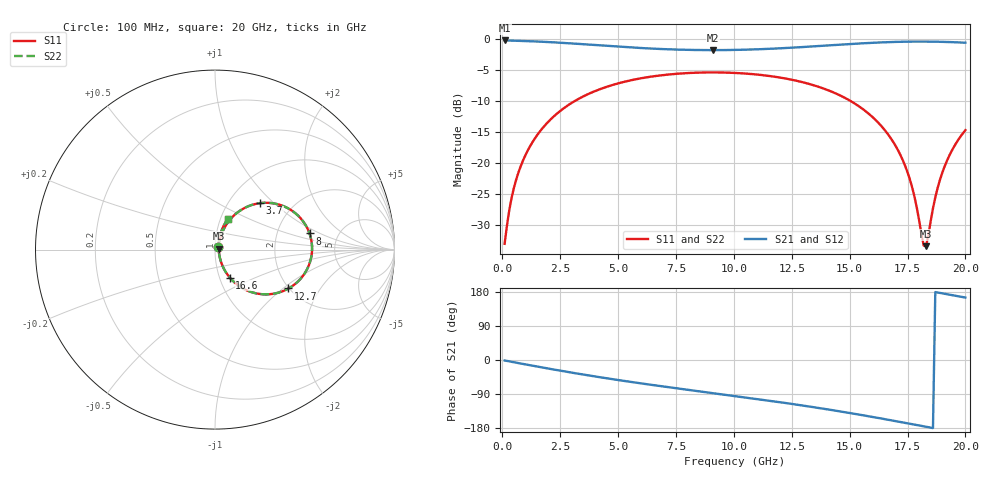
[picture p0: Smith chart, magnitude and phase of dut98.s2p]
! Touchstone file exported from HFSS 2026.1.0
!  File:  C:/ffzhzh/LocalFiles/Ansys_Project_Files/temp_train_TSV_RDL_98_1782974096_15332.aedt
!  Generated:  02:47:36 PM Jul  2, 2026
!  Design:  TSV_RDL
!  Project:  temp_train_TSV_RDL_98_1782974096_15332
! Variables:
!  h_bsmrdl = 2.89um
!  h_ox = 20um
!  h_rdl = 5um
!  h_sub = 61.26um
!  h_tmrdl = 2.36um
!  h_tsv = 61.26um
!  h_via = 3um
!  l_bsmrdl = 388.43um
!  l_sub = 3356.58um
!  l_tmrdl = 412.82um
!  m_sub = 200um
!  pitch = 50.99um
!  r_tsv = 8.35um
!  s_tmrdl = 10um
!  w_bsmrdl = 24.11um
!  w_sub = 500um
!  w_tmrdl = 22.56um
!  x_tsv_center1 = 424.1um
!  x_tsv_center2 = 836.64um
!  x_tsv_center3 = 1272.02um
!  x_tsv_center4 = 1684.56um
!  x_tsv_center5 = 2119.94um
!  x_tsv_center6 = 2532.48um
# GHz S MA R 50.000000
! Terminal data exported
! Port[1] = TM_RDL1_1_T1
! Port[2] = TM_RDL5_1_T1
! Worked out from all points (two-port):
!   200 points, 100 MHz to 20 GHz, reference 50 ohm
!   highest |S21| = -0.16 dB at 100 MHz (marker M1); lowest = -1.7 dB at 9.1 GHz (marker M2)
!   |S21| within 3 dB of the highest: start of sweep to end of sweep
!   lowest |S11| = -33.5 dB at 18.3 GHz (marker M3), VSWR 1.04, Z = 52.1 + j0.612 ohm
!   |S11| at or under -10 dB: start of sweep to 3.119 GHz; 15.06 GHz to end of sweep
!   |S22| runs from -33.6 to -5.3 dB; largest |S21 - S12| = 1.7e-14
!   S11 on the Smith chart (normalised r, x): 100 MHz: 1.04, +0.02; 3.7 GHz: 1.39, +0.82; 8 GHz: 3.08, +0.78; 12.7 GHz: 1.98, -1.10; 16.6 GHz: 1.12, -0.36; 20 GHz: 1.08, +0.38
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0.1  0.02213 32.7  0.9816 -1.2  0.9816 -1.2  0.02213 32.7
! Gamma 0 0 0 0
! Port Impedance 50 0 50 0
0.5  0.06264 64.6  0.9773 -5.9  0.9773 -5.9  0.06264 64.6
1.1  0.1261 66.8  0.9692 -12.7  0.9692 -12.7  0.1261 66.8
2.1  0.2265 60.2  0.9504 -23.8  0.9504 -23.8  0.2265 60.2
3.5  0.3459 47.7  0.9147 -38.4  0.9147 -38.4  0.3459 47.7
3.7  0.3606 45.9  0.9093 -40.4  0.9093 -40.4  0.3606 45.9
6.8  0.5108 19.3  0.8377 -68.6  0.8377 -68.6  0.5108 19.3
8  0.5342 9.7  0.8238 -78.5  0.8238 -78.5  0.5342 9.7
9.1  0.5409 1.1  0.8197 -87.4  0.8197 -87.4  0.5409 1.1
10.1  0.535 -6.7  0.8232 -95.5  0.8232 -95.5  0.535 -6.7
12.7  0.4632 -27.9  0.862 -117.7  0.862 -117.7  0.4632 -27.9
13.4  0.4283 -34.0  0.8781 -124.1  0.8781 -124.1  0.4283 -34.0
15.3  0.2963 -51.1  0.9249 -142.9  0.9249 -142.9  0.2963 -51.2
16.6  0.1764 -62.2  0.9503 -157.0  0.9503 -157.0  0.1764 -62.2
16.7  0.1664 -62.8  0.9518 -158.1  0.9518 -158.1  0.1664 -62.9
17.5  0.08409 -64.6  0.9599 -167.1  0.9599 -167.1  0.08409 -64.7
17.8  0.05336 -59.4  0.9613 -170.5  0.9613 -170.5  0.05334 -59.6
18.2  0.02138 -12.4  0.9614 -175.0  0.9614 -175.0  0.02124 -12.6
18.3  0.02117 16.1  0.9612 -176.2  0.9612 -176.2  0.02101 16.1
18.7  0.05255 64.9  0.9592 179.3  0.9592 179.3  0.05245 65.0
19  0.08309 70.3  0.9565 175.9  0.9565 175.9  0.08301 70.4
20  0.1843 67.3  0.9412 164.7  0.9412 164.7  0.1843 67.4
